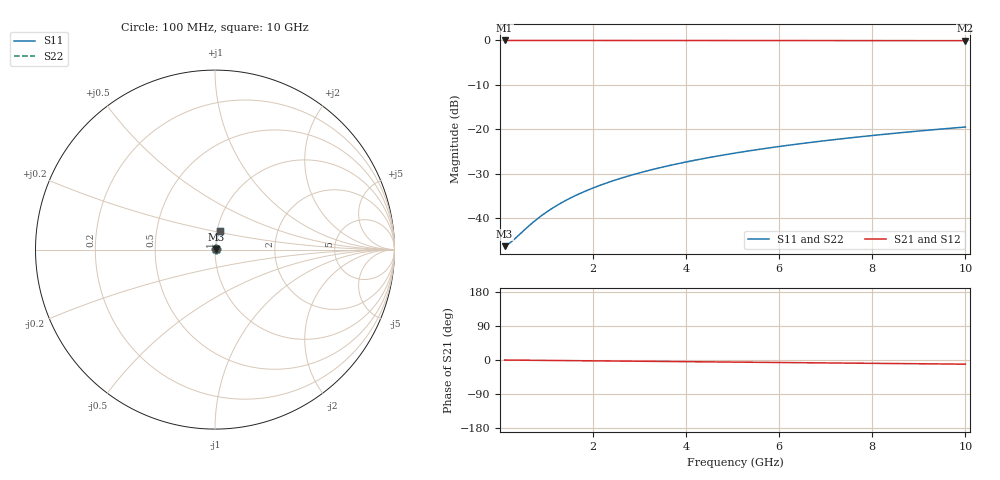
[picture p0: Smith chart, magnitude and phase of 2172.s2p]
# Hz S RI R 50.00
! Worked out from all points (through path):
!   100 points, 100 MHz to 10 GHz, reference 50 ohm
!   highest |S21| = -0.04 dB at 100 MHz (marker M1); lowest = -0.1 dB at 10 GHz (marker M2)
!   group delay of S21, straight-line fit = 3.05 ps
!   lowest |S11| = -46.2 dB at 100 MHz (marker M3), VSWR 1.01, Z = 50.5 + j0.107 ohm
!   |S11| at or under -10 dB: start of sweep to end of sweep
!   |S22| runs from -46.2 to -19.5 dB; largest |S21 - S12| = 0
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1e8  0.00476 0.00106  0.9952 -0.00191  0.9952 -0.00191  0.00476 0.00106
2e8  0.00479 0.00212  0.9952 -0.00382  0.9952 -0.00382  0.00479 0.00212
3e8  0.00483 0.00318  0.9952 -0.00573  0.9952 -0.00573  0.00483 0.00318
7e8  0.00497 0.00742  0.995 -0.0134  0.995 -0.0134  0.00497 0.00742
8e8  0.00501 0.00847  0.995 -0.0153  0.995 -0.0153  0.00501 0.00847
1e9  0.0051 0.0106  0.9949 -0.0191  0.9949 -0.0191  0.0051 0.0106
1.2e9  0.00521 0.0127  0.9947 -0.0229  0.9947 -0.0229  0.00521 0.0127
1.4e9  0.00533 0.0148  0.9946 -0.0267  0.9946 -0.0267  0.00533 0.0148
1.6e9  0.00547 0.0169  0.9944 -0.0305  0.9944 -0.0305  0.00547 0.0169
1.8e9  0.00562 0.019  0.9942 -0.0344  0.9942 -0.0344  0.00562 0.019
2.1e9  0.00588 0.0222  0.9939 -0.0401  0.9939 -0.0401  0.00588 0.0222
2.5e9  0.00627 0.0264  0.9935 -0.0477  0.9935 -0.0477  0.00627 0.0264
2.9e9  0.00673 0.0306  0.9929 -0.0553  0.9929 -0.0553  0.00673 0.0306
3.4e9  0.00739 0.0359  0.9922 -0.0648  0.9922 -0.0648  0.00739 0.0359
3.8e9  0.008 0.0401  0.9914 -0.0724  0.9914 -0.0724  0.008 0.0401
4.2e9  0.00866 0.0443  0.9907 -0.08  0.9907 -0.08  0.00866 0.0443
5.1e9  0.0104 0.0536  0.9886 -0.0971  0.9886 -0.0971  0.0104 0.0536
5.9e9  0.0122 0.0619  0.9865 -0.1122  0.9865 -0.1122  0.0122 0.0619
6.7e9  0.0142 0.0701  0.9841 -0.1272  0.9841 -0.1272  0.0142 0.0701
7.5e9  0.0166 0.0782  0.9813 -0.1422  0.9813 -0.1422  0.0166 0.0782
8.4e9  0.0194 0.0873  0.9779 -0.1589  0.9779 -0.1589  0.0194 0.0873
1e10  0.0253 0.1031  0.9709 -0.1884  0.9709 -0.1884  0.0253 0.1031
